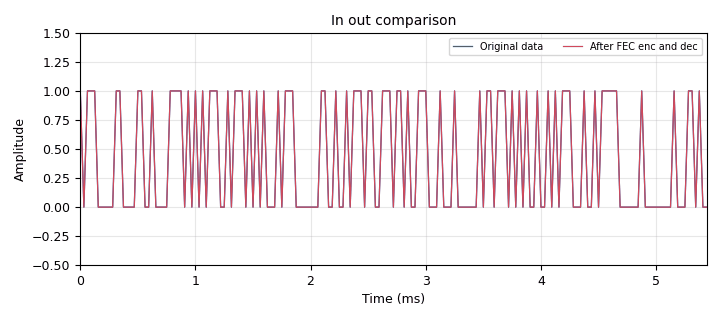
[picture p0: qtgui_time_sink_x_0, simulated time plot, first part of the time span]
<?xml version='1.0' encoding='utf-8'?>
<?grc format='1' created='3.7.11'?>
<flow_graph>
<block>
<key>options</key>
<param><key>id</key><value>test_fec</value></param>
<param><key>generate_options</key><value>qt_gui</value></param>
</block>
<block>
<key>variable_cc_decoder_def</key>
<param><key>id</key><value>dec_cc</value></param>
<param><key>padding</key><value>False</value></param>
<param><key>k</key><value>k</value></param>
<param><key>state_end</key><value>-1</value></param>
<param><key>framebits</key><value>frame_size*8</value></param>
<param><key>ndim</key><value>0</value></param>
<param><key>polys</key><value>polys</value></param>
<param><key>rate</key><value>rate</value></param>
<param><key>state_start</key><value>0</value></param>
<param><key>mode</key><value>fec.CC_STREAMING</value></param>
</block>
<block>
<key>variable_cc_encoder_def</key>
<param><key>id</key><value>enc_cc</value></param>
<param><key>padding</key><value>False</value></param>
<param><key>k</key><value>k</value></param>
<param><key>framebits</key><value>frame_size*8</value></param>
<param><key>ndim</key><value>0</value></param>
<param><key>polys</key><value>polys</value></param>
<param><key>rate</key><value>rate</value></param>
<param><key>state_start</key><value>0</value></param>
<param><key>mode</key><value>fec.CC_STREAMING</value></param>
</block>
<block>
<key>variable</key>
<param><key>id</key><value>k</value></param>
<param><key>value</key><value>7</value></param>
</block>
<block>
<key>variable</key>
<param><key>id</key><value>polys</value></param>
<param><key>value</key><value>[109, 79]</value></param>
</block>
<block>
<key>variable</key>
<param><key>id</key><value>rate</value></param>
<param><key>value</key><value>2</value></param>
</block>
<block>
<key>variable</key>
<param><key>id</key><value>samp_rate</value></param>
<param><key>value</key><value>32000</value></param>
</block>
<block>
<key>analog_random_source_x</key>
<param><key>id</key><value>analog_random_source_x_0</value></param>
<param><key>max</key><value>256</value></param>
<param><key>min</key><value>0</value></param>
<param><key>num_samps</key><value>1000</value></param>
<param><key>type</key><value>byte</value></param>
<param><key>repeat</key><value>True</value></param>
</block>
<block>
<key>blocks_char_to_float</key>
<param><key>id</key><value>blocks_char_to_float_0</value></param>
<param><key>scale</key><value>1</value></param>
</block>
<block>
<key>blocks_char_to_float</key>
<param><key>id</key><value>blocks_char_to_float_0_0</value></param>
<param><key>scale</key><value>1</value></param>
</block>
<block>
<key>blocks_char_to_float</key>
<param><key>id</key><value>blocks_char_to_float_0_1</value></param>
<param><key>scale</key><value>1</value></param>
</block>
<block>
<key>blocks_stream_to_tagged_stream</key>
<param><key>id</key><value>blocks_stream_to_tagged_stream_0</value></param>
<param><key>len_tag_key</key><value>"packet_len"</value></param>
<param><key>packet_len</key><value>32</value></param>
<param><key>type</key><value>byte</value></param>
</block>
<block>
<key>blocks_throttle</key>
<param><key>id</key><value>blocks_throttle_0</value></param>
<param><key>samples_per_second</key><value>samp_rate</value></param>
<param><key>type</key><value>byte</value></param>
</block>
<block>
<key>blocks_unpack_k_bits_bb</key>
<param><key>id</key><value>blocks_unpack_k_bits_bb_0</value></param>
<param><key>k</key><value>8</value></param>
</block>
<block>
<key>digital_map_bb</key>
<param><key>id</key><value>digital_map_bb_0_0</value></param>
<param><key>map</key><value>[-1,1]</value></param>
</block>
<block>
<key>fec_extended_tagged_decoder</key>
<param><key>id</key><value>fec_extended_tagged_decoder_0</value></param>
<param><key>decoder_list</key><value>dec_cc</value></param>
<param><key>lentagname</key><value>"packet_len"</value></param>
<param><key>mtu</key><value>4</value></param>
<param><key>puncpat</key><value>'11'</value></param>
</block>
<block>
<key>fec_extended_tagged_encoder</key>
<param><key>id</key><value>fec_extended_tagged_encoder_0</value></param>
<param><key>encoder_list</key><value>enc_cc</value></param>
<param><key>lentagname</key><value>"packet_len"</value></param>
<param><key>mtu</key><value>4</value></param>
<param><key>puncpat</key><value>'11'</value></param>
</block>
<block>
<key>parameter</key>
<param><key>id</key><value>frame_size</value></param>
<param><key>label</key><value>Frame Size</value></param>
<param><key>type</key><value>intx</value></param>
<param><key>value</key><value>60</value></param>
</block>
<block>
<key>parameter</key>
<param><key>id</key><value>puncpat</value></param>
<param><key>type</key><value>string</value></param>
<param><key>value</key><value>'11'</value></param>
</block>
<block>
<key>qtgui_time_sink_x</key>
<param><key>id</key><value>qtgui_time_sink_x_0</value></param>
<param><key>color1</key><value>"blue"</value></param>
<param><key>label1</key><value>"Original data"</value></param>
<param><key>color2</key><value>"red"</value></param>
<param><key>label2</key><value>"After FEC enc and dec"</value></param>
<param><key>name</key><value>"In out comparison"</value></param>
<param><key>nconnections</key><value>2</value></param>
<param><key>size</key><value>512</value></param>
<param><key>srate</key><value>samp_rate</value></param>
<param><key>type</key><value>float</value></param>
<param><key>ymax</key><value>1.5</value></param>
<param><key>ymin</key><value>-0.5</value></param>
</block>
<connection><source_block_id>analog_random_source_x_0</source_block_id><sink_block_id>blocks_throttle_0</sink_block_id><source_key>0</source_key><sink_key>0</sink_key></connection>
<connection><source_block_id>blocks_char_to_float_0</source_block_id><sink_block_id>qtgui_time_sink_x_0</sink_block_id><source_key>0</source_key><sink_key>1</sink_key></connection>
<connection><source_block_id>blocks_char_to_float_0_0</source_block_id><sink_block_id>fec_extended_tagged_decoder_0</sink_block_id><source_key>0</source_key><sink_key>0</sink_key></connection>
<connection><source_block_id>blocks_char_to_float_0_1</source_block_id><sink_block_id>qtgui_time_sink_x_0</sink_block_id><source_key>0</source_key><sink_key>0</sink_key></connection>
<connection><source_block_id>blocks_stream_to_tagged_stream_0</source_block_id><sink_block_id>blocks_char_to_float_0_1</sink_block_id><source_key>0</source_key><sink_key>0</sink_key></connection>
<connection><source_block_id>blocks_stream_to_tagged_stream_0</source_block_id><sink_block_id>fec_extended_tagged_encoder_0</sink_block_id><source_key>0</source_key><sink_key>0</sink_key></connection>
<connection><source_block_id>blocks_throttle_0</source_block_id><sink_block_id>blocks_unpack_k_bits_bb_0</sink_block_id><source_key>0</source_key><sink_key>0</sink_key></connection>
<connection><source_block_id>blocks_unpack_k_bits_bb_0</source_block_id><sink_block_id>blocks_stream_to_tagged_stream_0</sink_block_id><source_key>0</source_key><sink_key>0</sink_key></connection>
<connection><source_block_id>digital_map_bb_0_0</source_block_id><sink_block_id>blocks_char_to_float_0_0</sink_block_id><source_key>0</source_key><sink_key>0</sink_key></connection>
<connection><source_block_id>fec_extended_tagged_decoder_0</source_block_id><sink_block_id>blocks_char_to_float_0</sink_block_id><source_key>0</source_key><sink_key>0</sink_key></connection>
<connection><source_block_id>fec_extended_tagged_encoder_0</source_block_id><sink_block_id>digital_map_bb_0_0</sink_block_id><source_key>0</source_key><sink_key>0</sink_key></connection>
</flow_graph>
